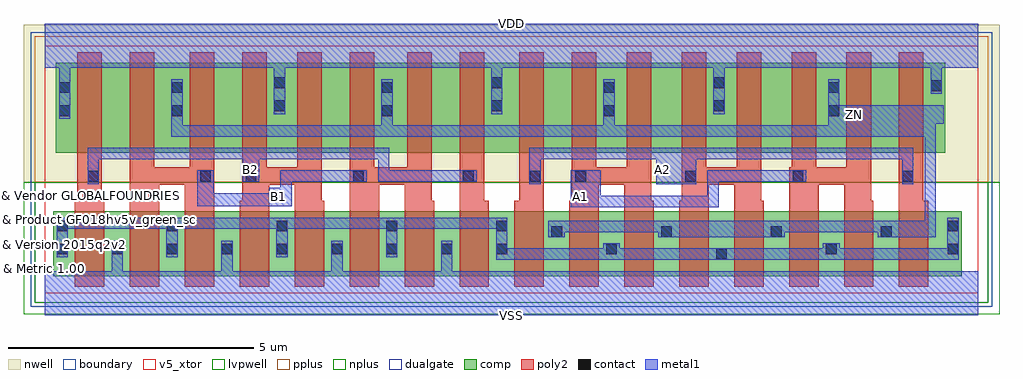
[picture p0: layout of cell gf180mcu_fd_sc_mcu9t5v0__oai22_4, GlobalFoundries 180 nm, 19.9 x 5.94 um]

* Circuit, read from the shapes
.subckt gf180mcu_fd_sc_mcu9t5v0__oai22_4 A1 A2 B1 B2 VDD VSS ZN
XM1 VSS B2 n1 VSUBS nfet_05v0 w=1.32u l=0.6u m=4
XM2 n1 B1 VSS VSUBS nfet_05v0 w=1.32u l=0.6u m=4
XM3 ZN A2 n1 VSUBS nfet_05v0 w=1.32u l=0.6u m=4
XM4 n1 A1 ZN VSUBS nfet_05v0 w=1.32u l=0.6u m=4
XM5 n2 B2 VDD n3 pfet_05v0 w=1.83u l=0.5u
XM6 ZN B1 n2 n3 pfet_05v0 w=1.83u l=0.5u
XM7 n4 B1 ZN n3 pfet_05v0 w=1.83u l=0.5u
XM8 VDD B2 n4 n3 pfet_05v0 w=1.83u l=0.5u
XM9 n5 B2 VDD n3 pfet_05v0 w=1.83u l=0.5u
XM10 ZN B1 n5 n3 pfet_05v0 w=1.83u l=0.5u
XM11 n6 B1 ZN n3 pfet_05v0 w=1.83u l=0.5u
XM12 VDD B2 n6 n3 pfet_05v0 w=1.83u l=0.5u
XM13 n7 A2 VDD n3 pfet_05v0 w=1.83u l=0.5u
XM14 ZN A1 n7 n3 pfet_05v0 w=1.83u l=0.5u
XM15 n8 A1 ZN n3 pfet_05v0 w=1.83u l=0.5u
XM16 VDD A2 n8 n3 pfet_05v0 w=1.83u l=0.5u
XM17 n9 A2 VDD n3 pfet_05v0 w=1.83u l=0.5u
XM18 ZN A1 n9 n3 pfet_05v0 w=1.83u l=0.5u
XM19 n10 A1 ZN n3 pfet_05v0 w=1.83u l=0.5u
XM20 VDD A2 n10 n3 pfet_05v0 w=1.83u l=0.5u
.ends

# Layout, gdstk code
import gdstk
lib = gdstk.Library(unit=1e-6, precision=1e-09)
def R(c, l, rs):  # rectangles x0, y0, x1, y1
    for r in rs: c.add(gdstk.rectangle(r[:2], r[2:], *l))
def A(c, l, x, y, w, h, nx, ny, dx, dy):  # array of equal rectangles
    R(c, l, [(x+i*dx, y+j*dy, x+i*dx+w, y+j*dy+h) for i in range(nx) for j in range(ny)])
def P(c, l, *ps):  # polygons
    for p in ps: c.add(gdstk.Polygon(p, *l))
boundary = (0, 0)
nwell = (21, 0)
comp = (22, 0)
poly2 = (30, 0)
pplus = (31, 0)
nplus = (32, 0)
contact = (33, 0)
metal1 = (34, 0)
dualgate = (55, 0)
v5_xtor = (112, 1)
lvpwell = (204, 0)

gf180mcu_fd_sc_mcu9t5v0_ = lib.new_cell('gf180mcu_fd_sc_mcu9t5v0__oai22_4')
R(gf180mcu_fd_sc_mcu9t5v0_, boundary, [(0,0,19.04,5.04)])
R(gf180mcu_fd_sc_mcu9t5v0_, nwell, [(-0.43,2.265,19.47,5.47)])
R(gf180mcu_fd_sc_mcu9t5v0_, comp, [(0.18,0.345,18.7,1.665), (0.23,2.865,18.36,4.695)])
P(gf180mcu_fd_sc_mcu9t5v0_, poly2, [(0.62,0.125),(0.62,1.885),(0.67,1.885),(0.67,4.915),(1.17,4.915),(1.17,1.885),(1.22,1.885),(1.22,0.125)],
  [(1.74,0.125),(1.74,4.915),(2.24,4.915),(2.24,2.565),(2.96,2.565),(2.96,4.915),(3.46,4.915),(3.46,0.125),(2.86,0.125),(2.86,2.205),(2.34,2.205),(2.34,0.125)],
  [(3.98,0.125),(3.98,1.885),(4.03,1.885),(4.03,4.915),(4.53,4.915),(4.53,2.565),(5.15,2.565),(5.15,4.915),(5.65,4.915),(5.65,1.885),(5.7,1.885),(5.7,0.125),(5.1,0.125),(5.1,2.205),(4.58,2.205),(4.58,0.125)],
  [(6.22,0.125),(6.22,4.915),(6.72,4.915),(6.72,2.565),(7.39,2.565),(7.39,4.915),(7.89,4.915),(7.89,1.885),(7.94,1.885),(7.94,0.125),(7.34,0.125),(7.34,2.205),(6.82,2.205),(6.82,0.125)],
  [(8.46,0.125),(8.46,4.915),(8.96,4.915),(8.96,1.885),(9.06,1.885),(9.06,0.125)],
  [(9.58,0.125),(9.58,1.885),(9.68,1.885),(9.68,4.915),(10.18,4.915),(10.18,0.125)],
  [(10.7,0.125),(10.7,1.885),(10.75,1.885),(10.75,4.915),(11.25,4.915),(11.25,2.565),(11.87,2.565),(11.87,4.915),(12.37,4.915),(12.37,1.885),(12.42,1.885),(12.42,0.125),(11.82,0.125),(11.82,2.205),(11.3,2.205),(11.3,0.125)],
  [(12.94,0.125),(12.94,1.885),(12.99,1.885),(12.99,4.915),(13.49,4.915),(13.49,2.565),(14.11,2.565),(14.11,4.915),(14.61,4.915),(14.61,1.885),(14.66,1.885),(14.66,0.125),(14.06,0.125),(14.06,2.205),(13.54,2.205),(13.54,0.125)],
  [(15.18,0.125),(15.18,2.565),(15.23,2.565),(15.23,4.915),(15.73,4.915),(15.73,2.565),(16.35,2.565),(16.35,4.915),(16.85,4.915),(16.85,1.885),(16.9,1.885),(16.9,0.125),(16.3,0.125),(16.3,2.205),(15.78,2.205),(15.78,0.125)],
  [(17.42,0.125),(17.42,4.915),(17.92,4.915),(17.92,1.885),(18.02,1.885),(18.02,0.125)])
R(gf180mcu_fd_sc_mcu9t5v0_, pplus, [(-0.2,2.265,19.24,5.24)])
R(gf180mcu_fd_sc_mcu9t5v0_, nplus, [(-0.2,-0.2,19.24,2.265)])
A(gf180mcu_fd_sc_mcu9t5v0_, contact, 0.25, 0.79, 0.22, 0.22, 9, 1, 1.12, 0)
A(gf180mcu_fd_sc_mcu9t5v0_, contact, 10.33, 1.145, 0.22, 0.22, 4, 1, 2.24, 0)
A(gf180mcu_fd_sc_mcu9t5v0_, contact, 0.25, 1.26, 0.22, 0.22, 5, 1, 2.24, 0)
R(gf180mcu_fd_sc_mcu9t5v0_, contact, [(13.69,0.685,13.91,0.905), (11.45,0.79,11.67,1.01), (15.93,0.79,16.15,1.01), (18.41,0.79,18.63,1.01), (18.41,1.26,18.63,1.48), (0.88,2.275,1.1,2.495), (3.17,2.275,3.39,2.495), (4.1,2.275,4.32,2.495), (6.29,2.275,6.51,2.495), (8.53,2.275,8.75,2.495), (9.89,2.275,10.11,2.495), (10.82,2.275,11.04,2.495), (13.06,2.275,13.28,2.495), (15.25,2.275,15.47,2.495), (17.49,2.275,17.71,2.495), (0.3,3.61,0.52,3.83), (2.59,3.61,2.81,3.83), (6.87,3.61,7.09,3.83), (11.4,3.61,11.62,3.83), (15.98,3.61,16.2,3.83), (4.68,3.71,4.9,3.93), (9.11,3.71,9.33,3.93), (13.64,3.71,13.86,3.93), (0.3,4.08,0.52,4.3), (2.59,4.08,2.81,4.3), (6.87,4.08,7.09,4.3), (11.4,4.08,11.62,4.3), (15.98,4.08,16.2,4.3), (18.07,4.12,18.29,4.34), (4.68,4.18,4.9,4.4), (9.11,4.18,9.33,4.4), (13.64,4.18,13.86,4.4)])
P(gf180mcu_fd_sc_mcu9t5v0_, metal1, [(3.11,1.77),(3.11,2.5),(3.45,2.5),(3.45,2.04),(4.58,2.04),(4.58,2.15),(4.81,2.15),(4.81,2.5),(6.57,2.5),(6.57,2.27),(5.04,2.27),(5.04,1.77)],
  [(0.875,2.215),(0.875,2.96),(7.03,2.96),(7.03,2.5),(8.81,2.5),(8.81,2.27),(6.8,2.27),(6.8,2.73),(4.38,2.73),(4.38,2.27),(4.04,2.27),(4.04,2.73),(1.105,2.73),(1.105,2.215)],
  [(10.73,1.755),(10.73,2.5),(11.34,2.5),(11.34,1.985),(13.515,1.985),(13.515,2.5),(15.53,2.5),(15.53,2.27),(13.745,2.27),(13.745,1.755)],
  [(9.885,2.215),(9.885,2.96),(17.715,2.96),(17.715,2.215),(17.485,2.215),(17.485,2.73),(13.285,2.73),(13.285,2.215),(12.47,2.215),(12.47,2.73),(10.115,2.73),(10.115,2.215)],
  [(10.27,1.14),(10.27,1.475),(17.945,1.475),(17.945,3.19),(2.585,3.19),(2.585,4.36),(2.815,4.36),(2.815,3.42),(6.865,3.42),(6.865,4.36),(7.095,4.36),(7.095,3.42),(11.395,3.42),(11.395,4.36),(11.625,4.36),(11.625,3.42),(15.975,3.42),(15.975,4.36),(16.205,4.36),(16.205,3.83),(18.33,3.83),(18.33,3.45),(18.175,3.45),(18.175,1.14),(16.99,1.14),(16.99,1.245),(15.09,1.245),(15.09,1.14),(12.51,1.14),(12.51,1.245),(10.61,1.245),(10.61,1.14)],
  [(9.205,0.68),(9.205,1.31),(7.195,1.31),(7.195,0.73),(6.965,0.73),(6.965,1.31),(4.955,1.31),(4.955,0.73),(4.725,0.73),(4.725,1.31),(2.715,1.31),(2.715,0.73),(2.485,0.73),(2.485,1.31),(0.475,1.31),(0.475,0.73),(0.245,0.73),(0.245,1.54),(9.435,1.54),(9.435,0.91),(11.39,0.91),(11.39,1.015),(11.73,1.015),(11.73,0.91),(15.87,0.91),(15.87,1.015),(16.21,1.015),(16.21,0.91),(18.405,0.91),(18.405,1.54),(18.635,1.54),(18.635,0.68)],
  [(0,-0.45),(0,0.45),(1.365,0.45),(1.365,1.07),(1.595,1.07),(1.595,0.45),(3.605,0.45),(3.605,1.07),(3.835,1.07),(3.835,0.45),(5.845,0.45),(5.845,1.07),(6.075,1.07),(6.075,0.45),(8.085,0.45),(8.085,1.07),(8.315,1.07),(8.315,0.45),(19.04,0.45),(19.04,-0.45)],
  [(0.295,3.55),(0.295,4.59),(0,4.59),(0,5.49),(19.04,5.49),(19.04,4.59),(18.295,4.59),(18.295,4.06),(18.065,4.06),(18.065,4.59),(13.865,4.59),(13.865,3.65),(13.635,3.65),(13.635,4.59),(9.335,4.59),(9.335,3.65),(9.105,3.65),(9.105,4.59),(4.905,4.59),(4.905,3.65),(4.675,3.65),(4.675,4.59),(0.525,4.59),(0.525,3.55)])
R(gf180mcu_fd_sc_mcu9t5v0_, dualgate, [(-0.28,-0.28,19.32,5.32)])
R(gf180mcu_fd_sc_mcu9t5v0_, v5_xtor, [(0,0,19.04,5.04)])
R(gf180mcu_fd_sc_mcu9t5v0_, lvpwell, [(-0.43,-0.43,19.47,2.265)])
gf180mcu_fd_sc_mcu9t5v0_.add(gdstk.Label('A1', (10.92,1.96), layer=34, texttype=10))
gf180mcu_fd_sc_mcu9t5v0_.add(gdstk.Label('A2', (12.6,2.52), layer=34, texttype=10))
gf180mcu_fd_sc_mcu9t5v0_.add(gdstk.Label('B1', (4.76,1.96), layer=34, texttype=10))
gf180mcu_fd_sc_mcu9t5v0_.add(gdstk.Label('B2', (4.2,2.52), layer=34, texttype=10))
gf180mcu_fd_sc_mcu9t5v0_.add(gdstk.Label('VDD', (9.52,5.49), layer=34, texttype=10))
gf180mcu_fd_sc_mcu9t5v0_.add(gdstk.Label('VSS', (9.52,-0.45), layer=34, texttype=10))
gf180mcu_fd_sc_mcu9t5v0_.add(gdstk.Label('ZN', (16.52,3.64), layer=34, texttype=10))
gf180mcu_fd_sc_mcu9t5v0_.add(gdstk.Label('& Vendor GLOBALFOUNDRIES', (0,2), layer=63, texttype=63))
gf180mcu_fd_sc_mcu9t5v0_.add(gdstk.Label('& Product GF018hv5v_green_sc9', (0,1.5), layer=63, texttype=63))
gf180mcu_fd_sc_mcu9t5v0_.add(gdstk.Label('& Version 2015q2v2', (0,1), layer=63, texttype=63))
gf180mcu_fd_sc_mcu9t5v0_.add(gdstk.Label('& Metric 1.00', (0,0.5), layer=63, texttype=63))

lib.write_gds('gf180mcu_fd_sc_mcu9t5v0__oai22_4.gds')
